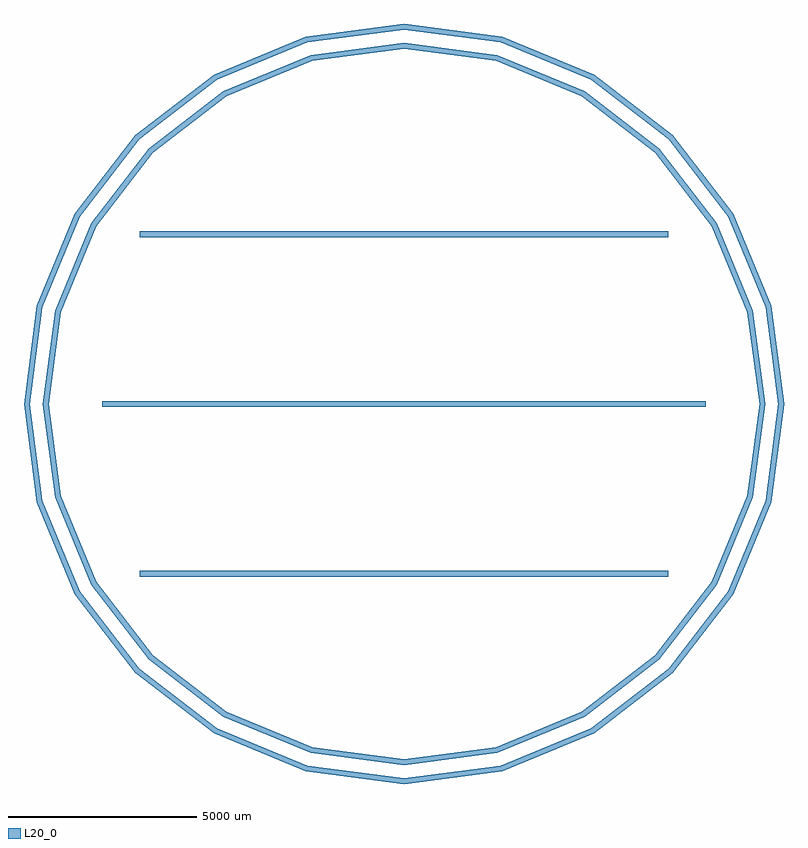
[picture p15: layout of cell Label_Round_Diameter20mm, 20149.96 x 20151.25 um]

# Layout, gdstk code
import gdstk
lib = gdstk.Library(unit=1e-6, precision=1e-09)
L20_0 = (20, 0)

label_round_diameter20mm = lib.new_cell('Label_Round_Diameter20mm')
label_round_diameter20mm.add(gdstk.FlexPath([(9999.98,0),(9659.239,2588.185),(8660.237,4999.99),(7071.054,7071.054),(4999.99,8660.237),(2588.185,9659.239),(0,9999.98),(-2588.185,9659.239),(-4999.99,8660.237),(-7071.054,7071.054),(-8660.237,4999.99),(-9659.239,2588.185),(-9999.98,0),(-9659.239,-2588.185),(-8660.237,-4999.99),(-7071.054,-7071.054),(-4999.99,-8660.237),(-2588.185,-9659.239),(0,-9999.98),(2588.185,-9659.239),(4999.99,-8660.237),(7071.054,-7071.054),(8660.237,-4999.99),(9659.239,-2588.185),(9999.98,0)], 149.998, ends="flush", simple_path=True, layer=20, datatype=0))  # L20_0
label_round_diameter20mm.add(gdstk.FlexPath([(9499.6,0),(9175.909,2458.677),(8226.895,4749.8),(6717.232,6717.232),(4749.8,8226.895),(2458.677,9175.909),(0,9499.6),(-2458.677,9175.909),(-4749.8,8226.895),(-6717.232,6717.232),(-8226.895,4749.8),(-9175.909,2458.677),(-9499.6,0),(-9175.909,-2458.677),(-8226.895,-4749.8),(-6717.232,-6717.232),(-4749.8,-8226.895),(-2458.677,-9175.909),(0,-9499.6),(2458.677,-9175.909),(4749.8,-8226.895),(6717.232,-6717.232),(8226.895,-4749.8),(9175.909,-2458.677),(9499.6,0)], 149.998, ends="flush", simple_path=True, layer=20, datatype=0))  # L20_0
label_round_diameter20mm.add(gdstk.FlexPath([(-8001,0),(8001,0)], 149.998, ends="flush", simple_path=True, layer=20, datatype=0))  # L20_0
label_round_diameter20mm.add(gdstk.FlexPath([(-7000.24,4500.88),(7000.24,4500.88)], 149.998, ends="flush", simple_path=True, layer=20, datatype=0))  # L20_0
label_round_diameter20mm.add(gdstk.FlexPath([(-7000.24,-4500.88),(7000.24,-4500.88)], 149.998, ends="flush", simple_path=True, layer=20, datatype=0))  # L20_0
label_round_diameter20mm.add(gdstk.Label('type', (0,-11998.96), layer=9, texttype=0))
label_round_diameter20mm.add(gdstk.Label('devicename', (0,11501.12), layer=9, texttype=0))

lib.write_gds('Label_Round_Diameter20mm.gds')
